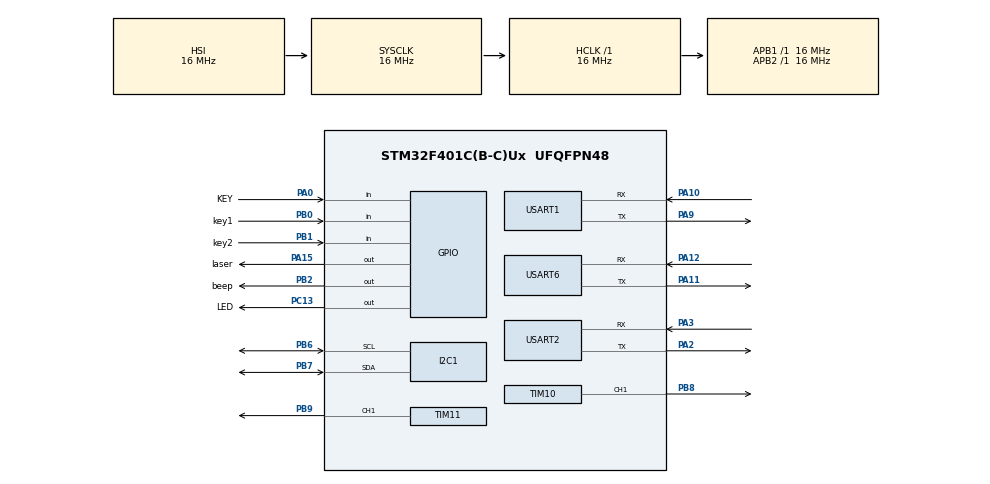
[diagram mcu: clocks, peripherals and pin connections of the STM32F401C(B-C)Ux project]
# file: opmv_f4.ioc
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Mcu.Family=STM32F4
Mcu.Name=STM32F401C(B-C)Ux
Mcu.Package=UFQFPN48
NVIC.PriorityGroup=NVIC_PRIORITYGROUP_4
NVIC.TIM4_IRQn=true\:0\:0\:false\:false\:true\:true\:true
NVIC.USART1_IRQn=true\:0\:0\:false\:false\:true\:true\:true
NVIC.USART2_IRQn=true\:0\:0\:false\:false\:true\:true\:true
NVIC.USART6_IRQn=true\:0\:0\:false\:false\:true\:true\:true
PA0-WKUP.GPIO_Label=KEY
PA0-WKUP.Signal=GPIO_Input
PA10.Mode=Asynchronous
PA10.Signal=USART1_RX
PA11.Mode=Asynchronous
PA11.Signal=USART6_TX
PA12.Mode=Asynchronous
PA12.Signal=USART6_RX
PA13.Mode=Serial_Wire
PA13.Signal=SYS_JTMS-SWDIO
PA14.Mode=Serial_Wire
PA14.Signal=SYS_JTCK-SWCLK
PA15.GPIO_Label=laser
PA15.GPIO_PuPd=GPIO_NOPULL
PA15.Signal=GPIO_Output
PA2.Mode=Asynchronous
PA2.Signal=USART2_TX
PA3.Mode=Asynchronous
PA3.Signal=USART2_RX
PA9.Mode=Asynchronous
PA9.Signal=USART1_TX
PB0.GPIO_Label=key1
PB0.GPIO_PuPd=GPIO_PULLUP
PB0.Signal=GPIO_Input
PB1.GPIO_Label=key2
PB1.GPIO_PuPd=GPIO_PULLUP
PB1.Signal=GPIO_Input
PB2.GPIO_Label=beep
PB2.GPIO_ModeDefaultOutputPP=GPIO_MODE_OUTPUT_PP
PB2.GPIO_PuPd=GPIO_PULLUP
PB2.Signal=GPIO_Output
PB6.Mode=I2C
PB6.Signal=I2C1_SCL
PB7.Mode=I2C
PB7.Signal=I2C1_SDA
PB8.Signal=S_TIM10_CH1
PB9.Signal=S_TIM11_CH1
PC13-ANTI_TAMP.GPIO_Label=LED
PC13-ANTI_TAMP.GPIO_PuPd=GPIO_PULLUP
PC13-ANTI_TAMP.Signal=GPIO_Output
PH0\ -\ OSC_IN.Mode=HSE-External-Oscillator
PH0\ -\ OSC_IN.Signal=RCC_OSC_IN
PH1\ -\ OSC_OUT.Mode=HSE-External-Oscillator
PH1\ -\ OSC_OUT.Signal=RCC_OSC_OUT
ProjectManager.HeapSize=0x200
ProjectManager.StackSize=0x400
ProjectManager.TargetToolchain=MDK-ARM V5
RCC.AHBFreq_Value=16000000
RCC.APB1Freq_Value=16000000
RCC.APB2Freq_Value=16000000
RCC.CortexFreq_Value=16000000
RCC.HSE_VALUE=25000000
RCC.HSI_VALUE=16000000
RCC.LSE_VALUE=32768
RCC.SYSCLKFreq_VALUE=16000000
RCC.VCOOutputFreq_Value=192000000
SH.S_TIM10_CH1.0=TIM10_CH1,PWM Generation1 CH1
SH.S_TIM11_CH1.0=TIM11_CH1,PWM Generation1 CH1
TIM10.AutoReloadPreload=TIM_AUTORELOAD_PRELOAD_ENABLE
TIM10.Channel=TIM_CHANNEL_1
TIM10.Period=2000
TIM10.Prescaler=160
TIM10.Pulse=150
TIM11.AutoReloadPreload=TIM_AUTORELOAD_PRELOAD_ENABLE
TIM11.Channel=TIM_CHANNEL_1
TIM11.Period=2000
TIM11.Prescaler=160
TIM11.Pulse=150
TIM4.Period=10000
TIM4.Prescaler=160
USART1.VirtualMode=VM_ASYNC
USART2.VirtualMode=VM_ASYNC
USART6.VirtualMode=VM_ASYNC
VP_TIM10_VS_ClockSourceINT.Mode=Enable_Timer
VP_TIM11_VS_ClockSourceINT.Mode=Enable_Timer
VP_TIM4_VS_ClockSourceINT.Mode=Internal
board=custom

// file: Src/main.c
/* USER CODE BEGIN Header */
/**
  ******************************************************************************
  * @file           : main.c
  * @brief          : Main program body
  ******************************************************************************
  * @attention
  *
  * <h2><center>&copy; Copyright (c) 2020 STMicroelectronics.
  * All rights reserved.</center></h2>
  *
  * This software component is licensed by ST under BSD 3-Clause license,
  * the "License"; You may not use this file except in compliance with the
  * License. You may obtain a copy of the License at:
  *                        opensource.org/licenses/BSD-3-Clause
  *
  ******************************************************************************
  */
/* USER CODE END Header */

#include "main.h"
#include "i2c.h"
#include "tim.h"
#include "usart.h"
#include "gpio.h"

/* USER CODE BEGIN Includes */
#include "oled.h"
#include "stdio.h"

/* USER CODE END Includes */

/* USER CODE BEGIN PV */

#undef __GNUC__
#ifdef __GNUC__
   #define PUTCHAR_PROTOTYPE int _io_putchar(int ch)
#else
	 #define PUTCHAR_PROTOTYPE int fputc(int ch,FILE *f)
#endif

PUTCHAR_PROTOTYPE
	 {
		 HAL_UART_Transmit(&huart2,(uint8_t *)&ch,1,0xffff);
		 return ch;
	 }

/* USER CODE END PV */

void SystemClock_Config(void);

/* USER CODE BEGIN 0 */

void measure(void);
void trans(int16_t data);
void measure6(void);
void trans6(int16_t data);
void MG996R_Set_Angle(int16_t angle);
void MG996R_Set_Angle2(int16_t angle2);

int a=-80,b=-80;
int shape,size,model=1;
u32 value;
int keystatues1=0,keystatues2=0;
int M=0;

/* USER CODE END 0 */

int main(void)
{

  /* MCU Configuration--------------------------------------------------------*/

  /* Reset of all peripherals, Initializes the Flash interface and the Systick. */
  HAL_Init();

  /* Configure the system clock */
  SystemClock_Config();

  /* Initialize all configured peripherals */
  MX_GPIO_Init();
  MX_TIM4_Init();
  MX_USART1_UART_Init();
  MX_USART2_UART_Init();
  MX_TIM11_Init();
  MX_TIM10_Init();
  MX_I2C1_Init();
  MX_USART6_UART_Init();
  /* USER CODE BEGIN 2 */

	HAL_TIM_PWM_Start(&htim11, TIM_CHANNEL_1);

	HAL_TIM_PWM_Start(&htim10, TIM_CHANNEL_1);

//oled参数设置
	float num = 13.14;
	char num_temp_buffer[16];
  int i;
	int degreex=0,degreey=0;

  OLED_Init();
	OLED_CLS();
  /* USER CODE END 2 */

  /* Infinite loop */
  /* USER CODE BEGIN WHILE */

		HAL_TIM_Base_Start_IT(&htim4);

  while (1)
  {
    /* USER CODE END WHILE */

    /* USER CODE BEGIN 3 */

		 if(HAL_UART_Receive_IT(&huart6,(u8 *)&i,1) != HAL_OK)   Error_Handler();
    /* 开启接收错误中断 */
    __HAL_UART_ENABLE_IT(&huart6, UART_IT_ERR);

			HAL_Delay(500);

//KEY1控制任务一、二 *****************************************8
if(HAL_GPIO_ReadPin(key1_GPIO_Port,key1_Pin)==0){
			HAL_Delay(100);

			if(HAL_GPIO_ReadPin(key1_GPIO_Port,key1_Pin)==0){
	   	HAL_GPIO_TogglePin(GPIOC, GPIO_PIN_13);
	     HAL_Delay(500);
				keystatues1+=1;
				HAL_UART_ErrorCallback(&huart6);
				HAL_GPIO_WritePin(beep_GPIO_Port,beep_Pin,RESET);
				OLED_CLS();
				shape=0;

			}

		}

		if(keystatues1==1){
            M=0;   //云台不转动
			  HAL_GPIO_WritePin(laser_GPIO_Port, laser_Pin, GPIO_PIN_RESET);//关闭激光标记中心
				if(shape ==1){
					OLED_ShowStr(0, 0,"Shape:circle  ", 2);//显示字符串
					HAL_GPIO_WritePin(beep_GPIO_Port,beep_Pin,SET);
				}
				else if(shape ==2){
					OLED_ShowStr(0, 0,"Shape:rectangle ", 2);//显示字符串
					HAL_GPIO_WritePin(beep_GPIO_Port,beep_Pin,SET);
				}
				else if(shape ==3){
					OLED_ShowStr(0, 0,"Shape:triangle ", 2);//显示字符串
					HAL_GPIO_WritePin(beep_GPIO_Port,beep_Pin,SET);
				}

				OLED_ShowStr(0, 3, "Size:34.8cm", 2);//显示字符串
				OLED_ShowStr(0, 6, "Distance:", 2);//显示字符串

				OLED_ShowNum(70,7,value,5,20);

 // HAL_GPIO_WritePin(beep_GPIO_Port, beep_Pin, GPIO_PIN_RESET);

	}else if(keystatues1==2){

		 M=0;   //云台不转动
			  HAL_GPIO_WritePin(laser_GPIO_Port, laser_Pin, GPIO_PIN_RESET);//关闭激光标记中心
				if(shape ==1){
					OLED_ShowStr(0, 0,"Shape:circle  ", 2);//显示字符串
					HAL_GPIO_WritePin(beep_GPIO_Port,beep_Pin,SET);
				}
				else if(shape ==2){
					OLED_ShowStr(0, 0,"Shape:rectangle ", 2);//显示字符串
					HAL_GPIO_WritePin(beep_GPIO_Port,beep_Pin,SET);
				}
				else if(shape ==3){
					OLED_ShowStr(0, 0,"Shape:triangle ", 2);//显示字符串
					HAL_GPIO_WritePin(beep_GPIO_Port,beep_Pin,SET);
				}

				OLED_ShowStr(0, 3, "Size:36.2cm", 2);//显示字符串
				OLED_ShowStr(0, 6, "Distance:", 2);//显示字符串

				OLED_ShowNum(70,7,value,5,20);

	}else if(keystatues1==3){
		keystatues1=0;
	}

//KEY2控制任务三、四*************************************8
if(HAL_GPIO_ReadPin(key2_GPIO_Port,key2_Pin)==0){
			HAL_Delay(100);

			if(HAL_GPIO_ReadPin(key2_GPIO_Port,key2_Pin)==0){
	   	HAL_GPIO_TogglePin(GPIOC, GPIO_PIN_13);
	     HAL_Delay(500);
				keystatues2+=1;
	HAL_GPIO_WritePin(beep_GPIO_Port,beep_Pin,RESET);
     OLED_CLS();
      shape = 0;
      model = 0;
			}
		}

		if(keystatues2==1){
			M=1;     //云台转动
    HAL_GPIO_WritePin(laser_GPIO_Port, laser_Pin, GPIO_PIN_SET);//开启激光标记中心

		if(shape ==1){
			OLED_ShowStr(0, 0,"Shape:circle  ", 2);//显示字符串
			HAL_GPIO_WritePin(beep_GPIO_Port,beep_Pin,SET);
		}
		else if(shape ==2){
			OLED_ShowStr(0, 0,"Shape:rectangle ", 2);//显示字符串
			HAL_GPIO_WritePin(beep_GPIO_Port,beep_Pin,SET);
		}
		else if(shape ==3){
			OLED_ShowStr(0, 0,"Shape:triangle ", 2);//显示字符串
			HAL_GPIO_WritePin(beep_GPIO_Port,beep_Pin,SET);
		}

	  OLED_ShowStr(0, 3, "Size:33.7cm", 2);//显示字符串
	  OLED_ShowStr(0, 6, "Distance:", 2);//显示字符串

    OLED_ShowNum(70,7,value,5,20);

	}
	else if(keystatues2==2)
	{  //任务四：识别球的种类
            M=1;   //云台不转动
			  HAL_GPIO_WritePin(laser_GPIO_Port, laser_Pin, GPIO_PIN_SET);//开启激光标记中心

		   	OLED_ShowStr(0, 0,"Model:basketball  ", 2);//篮球
					HAL_GPIO_WritePin(beep_GPIO_Port,beep_Pin,SET);
				if(model ==1){

				}
				else if(model ==2){
					OLED_ShowStr(0, 0,"Model:football ", 2);//足球
					HAL_GPIO_WritePin(beep_GPIO_Port,beep_Pin,SET);
				}
				else if(model ==3){
					OLED_ShowStr(0, 0,"Model:volleyball ", 2);//排球
					HAL_GPIO_WritePin(beep_GPIO_Port,beep_Pin,SET);
				}
				OLED_ShowStr(0, 6, "Distance:", 2);//显示字符串
				OLED_ShowNum(70,7,value,5,20);

	}
		else if(	keystatues2==3)
		{
			HAL_GPIO_WritePin(laser_GPIO_Port, laser_Pin, GPIO_PIN_RESET);
			for (degreex = -40; degreex <= 40; degreex += 1)
			{
				MG996R_Set_Angle2(degreex);
				HAL_Delay(10);
			}

			for (degreex = 40; degreex >= -40; degreex -= 1)
			{
				MG996R_Set_Angle2(degreex);
				HAL_Delay(10);
			}

			for (degreey = -30; degreey <= 30; degreey += 1)
			{
				MG996R_Set_Angle(degreey);
				HAL_Delay(10);
			}

			for (degreey = 30; degreey >= -30; degreey -= 1)
			{
				MG996R_Set_Angle(degreey);
				HAL_Delay(10);
			}

			OLED_ShowStr(0, 0,"thank you", 2);//篮球
		}

		else if(	keystatues2==4)
		{
			keystatues2=0;
		}
  }
	OLED_CLS();
  /* USER CODE END 3 */
}

void SystemClock_Config(void)
{
  RCC_OscInitTypeDef RCC_OscInitStruct = {0};
  RCC_ClkInitTypeDef RCC_ClkInitStruct = {0};

  /** Configure the main internal regulator output voltage
  */
  __HAL_RCC_PWR_CLK_ENABLE();
  __HAL_PWR_VOLTAGESCALING_CONFIG(PWR_REGULATOR_VOLTAGE_SCALE2);
  /** Initializes the CPU, AHB and APB busses clocks
  */
  RCC_OscInitStruct.OscillatorType = RCC_OSCILLATORTYPE_HSI;
  RCC_OscInitStruct.HSIState = RCC_HSI_ON;
  RCC_OscInitStruct.HSICalibrationValue = RCC_HSICALIBRATION_DEFAULT;
  RCC_OscInitStruct.PLL.PLLState = RCC_PLL_NONE;
  if (HAL_RCC_OscConfig(&RCC_OscInitStruct) != HAL_OK)
  {
    Error_Handler();
  }
  /** Initializes the CPU, AHB and APB busses clocks
  */
  RCC_ClkInitStruct.ClockType = RCC_CLOCKTYPE_HCLK|RCC_CLOCKTYPE_SYSCLK
                              |RCC_CLOCKTYPE_PCLK1|RCC_CLOCKTYPE_PCLK2;
  RCC_ClkInitStruct.SYSCLKSource = RCC_SYSCLKSOURCE_HSI;
  RCC_ClkInitStruct.AHBCLKDivider = RCC_SYSCLK_DIV1;
  RCC_ClkInitStruct.APB1CLKDivider = RCC_HCLK_DIV1;
  RCC_ClkInitStruct.APB2CLKDivider = RCC_HCLK_DIV1;

  if (HAL_RCC_ClockConfig(&RCC_ClkInitStruct, FLASH_LATENCY_0) != HAL_OK)
  {
    Error_Handler();
  }
}

/* USER CODE BEGIN 4 */
uint8_t my_re_buf1[2000];            //openmv
uint8_t my_re_buf2[2000];            //ttl
uint8_t my_re_buf6[2000];            //radar
uint16_t pt_w1=0,pt_w2=0,pt_r1=0,pt_r2=0;
uint16_t pt_w6=0,pt_r6=0;

/**
  * @brief  UART error callback.
  * @param  huart UART handle.
  * @retval None
  */
 void HAL_UART_ErrorCallback(UART_HandleTypeDef *huart)
{
    uint8_t i = 0;

    if(__HAL_UART_GET_FLAG(huart,UART_FLAG_ORE) != RESET)
    {
        __HAL_UART_CLEAR_OREFLAG(huart);
        HAL_UART_Receive_IT(huart,(u8 *)&i,1);
    }
}

void HAL_UART_RxCpltCallback(UART_HandleTypeDef *huart)     //opmv-receive
{
	if(huart==&huart1)
	{
		HAL_UART_Receive_IT(&huart1,&my_re_buf1[++pt_w1],1);
		trans(my_re_buf1[pt_w1]);
//		measure();
	}

	if(huart==&huart6)               //radar
	{
		HAL_UART_Receive_IT(&huart6,&my_re_buf6[++pt_w6],1);
		trans6(my_re_buf6[pt_w6]);
	}
}

void HAL_TIM_PeriodElapsedCallback(TIM_HandleTypeDef *htim)
{
	if(htim==&htim4)
	{
		while(pt_r1<pt_w1 )
		{
			while(pt_r1<pt_w1){

				pt_r1++;

				//HAL_UART_Transmit(&huart2,&my_re_buf1[pt_r1++],1,1000);				//opmv-stm32-ttl

				//printf("%d",my_re_buf1);
			}
		}

		if(pt_r1>=pt_w1)
		{
			pt_w1=pt_r1=0;
			HAL_UART_AbortReceive_IT(&huart1);
	  	HAL_UART_Receive_IT(&huart1,my_re_buf1,1);

			//test 2
		}

//		while(pt_r2<pt_w2 )
//		{
//
//			HAL_UART_Transmit(&huart1,&my_re_buf2[pt_r2++],1,1000);					//将PC发给板子的数据转发到wifi模块
//			HAL_GPIO_TogglePin(GPIOC,GPIO_PIN_13);    //LED
//
//		}
//		if(pt_r2>=pt_w2)
//		{
//			pt_w2=pt_r2=0;
//			HAL_UART_AbortReceive_IT(&huart2);
//			HAL_UART_Receive_IT(&huart2,my_re_buf2,1);
//		}

		while(pt_r6<pt_w6 )
		{
			while(pt_r6<pt_w6){

				pt_r6++;

//				HAL_UART_Transmit(&huart2,&my_re_buf6[pt_r6++],1,1000);				//opmv-stm32-ttl

//		   printf("%d",my_re_buf1);

			}
		}

		if(pt_r6>=pt_w6)
		{
			pt_w6=pt_r6=0;
			HAL_UART_AbortReceive_IT(&huart6);
	  	HAL_UART_Receive_IT(&huart6,my_re_buf6,1);

			//test 2
		}

	}
}

void MG996R_Set_Angle(int16_t angle)
{
	uint16_t CCR_value = 0;

	if ((-90 <= angle) && (angle <= 90))
	{
		CCR_value = (10. / 9) * angle + 150;		// ?? to CCR?
	}
	else
	{
		CCR_value = 150;
	}

	__HAL_TIM_SET_COMPARE(&htim11, TIM_CHANNEL_1, CCR_value);
}

void MG996R_Set_Angle2(int16_t angle2)
{
	uint16_t CCR_value = 0;

	if ((-90 <= angle2) && (angle2 <= 90))
	{
		CCR_value = (10. / 9) * angle2 + 150;		// ?? to CCR?
	}
	else
	{
		CCR_value = 150;
	}

	__HAL_TIM_SET_COMPARE(&htim10, TIM_CHANNEL_1, CCR_value);
}

int opmvdata[8],i,m=0,servo_angle=0,servo_angle2=0;
int value1=0,value2=0,value3=0;

int model1=0,model2=0,model3=0;
unsigned char radardata[16];

void measure(void)
{
	  int x,y;

	  x=opmvdata[3];//坐标
	  y=opmvdata[4];

if(opmvdata[5]==0x01){
 	model1++;
//	shape=1;//圆形
}

else if(opmvdata[5]==0x02){

	model2++;
//	shape=2;//正方形
}
else if (opmvdata[5] == 0x03){

	model3++;
//	shape=3;   //三角形
}

if(model1>1){

	model=1;//篮球
	model1=0;
	model2=0;
	model3=0;

}
else if(model2>1){

	model=2;//足球
	model1=0;
	model2=0;
	model3=0;

}

else if(model3>1){

	model=3;//排球
	model1=0;
	model2=0;
	model3=0;

}

if(opmvdata[2]==0xb1){
 	value1++;
//	shape=1;//圆形
}
else if(opmvdata[2]==0xb2){

	value2++;
//	shape=2;//正方形
}
else if (opmvdata[2] == 0xb7){

	value3++;
//	shape=3;   //三角形
}

if(value1>50){

	shape=1;//圆形
	value1=0;
	value2=0;
	value3=0;

}
else if(value2>50){

	shape=2;
	value1=0;
	value2=0;
	value3=0;

}

else if(value3>50){

	shape=3;
	value1=0;
	value2=0;
	value3=0;

}

	//servo begin
  if(m>5&&M==1){

			  if(x<75&&x>0){

				if(servo_angle2<90){

	     	servo_angle2+=1;
	     	MG996R_Set_Angle2(servo_angle2); 	//SERVO

				}

      	}else if(x>75&&x<200){

					if(servo_angle2>-90){

	     	servo_angle2-=1 ;
	     	MG996R_Set_Angle2(servo_angle2); 	//SERVO

				}
			}

				//y servo        #############

				if(y<67&&y>0){

				if(servo_angle<90){

	     	servo_angle-=1;
	     	MG996R_Set_Angle(servo_angle); 	//SERVO

				}

      	}else if(y>67&&y<100){

					if(servo_angle>-90){

	     	servo_angle+=1 ;
	     	MG996R_Set_Angle(servo_angle); 	//SERVO

				}
			}

	m=0;

	}
	m++;

	//servo end
}

void measure6(void)
{
	  float distance;
	  static int i;
	  value = (radardata[9]-0x30)*(16*16*16) + (radardata[10]-0x30)*(16*16) + (radardata[11]-0x30)*16 + (radardata[12]-0x30);
     if(value>4000){
			 value-=1900;
		 }
}

void trans(int16_t data){

	static int state = 0;
	if(state==0&&data==0xb3)
	{
		state=1;
		opmvdata[0]=data;
	}

	else if(state==1&&data==0xb4)
	{
		state=2;
		opmvdata[1]=data;
	}
	else if(state==2)
	{
		state=3;
		opmvdata[2]=data;//形状：b1-->圆
	}
	else if(state==3)
	{
		state = 4;
		opmvdata[3]=data;
	}
	else if(state==4)
	{
        state = 5;
        opmvdata[4]=data;
	}
	else if(state==5)
	{
        state = 6;
        opmvdata[5]=data;
	}
	else if(state==6)
	{
        state = 7;
        opmvdata[6]=data;
	}

	else if(state==7)		//检测是否接受到结束标志
	{
        if(data == 0xb6)
        {
            state = 0;
            opmvdata[7]=data;
            measure();

        }
        else if(data != 0xb6)
        {
            state = 0;
            for(i=0;i<8;i++)
            {
                opmvdata[i]=0x00;
            }
        }
	}
	else
	{
			      state = 0;
            for(i=0;i<8;i++)
            {
                opmvdata[i]=0x00;
            }
	}
}

//radar

void trans6(int16_t data){

	static int state = 0;

	if(state==0&&data==0x7E)
	{
		state=1;
		radardata[0]=data;

	}
	else if(state==1&&data==0x30)
	{
		state=2;
		radardata[1]=data;
	}
	else if(state==2)
	{
		state=3;
		radardata[2]=data;//形状：b1-->圆
	}
	else if(state==3)
	{
		state = 4;
		radardata[3]=data;
	}
	else if(state==4)
	{
        state = 5;
        radardata[4]=data;
	}
	else if(state==5)
	{
        state = 6;
        radardata[5]=data;
	}
	else if(state==6)
	{
        state = 7;
        radardata[6]=data;
	}

	else if(state==7)
	{
        state = 8;
        radardata[7]=data;
	}

	else if(state==8)
	{
        state = 9;
        radardata[8]=data;
	}

	else if(state==9)
	{
        state = 10;
        radardata[9]=data;
	}

	else if(state==10)
	{
        state = 11;
        radardata[10]=data;
	}

	else if(state==11)
	{
        state = 12;
        radardata[11]=data;
	}

	else if(state==12)		//检测是否接受到结束标志
	{

            state = 0;
            radardata[12]=data;
            measure6();

        }

	else
	{
			      state = 0;
            for(i=0;i<12;i++)
            {
                radardata[i]=0x00;
            }
	}
}

/* USER CODE END 4 */

void Error_Handler(void)
{
}

/************************ (C) COPYRIGHT STMicroelectronics *****END OF FILE****/
